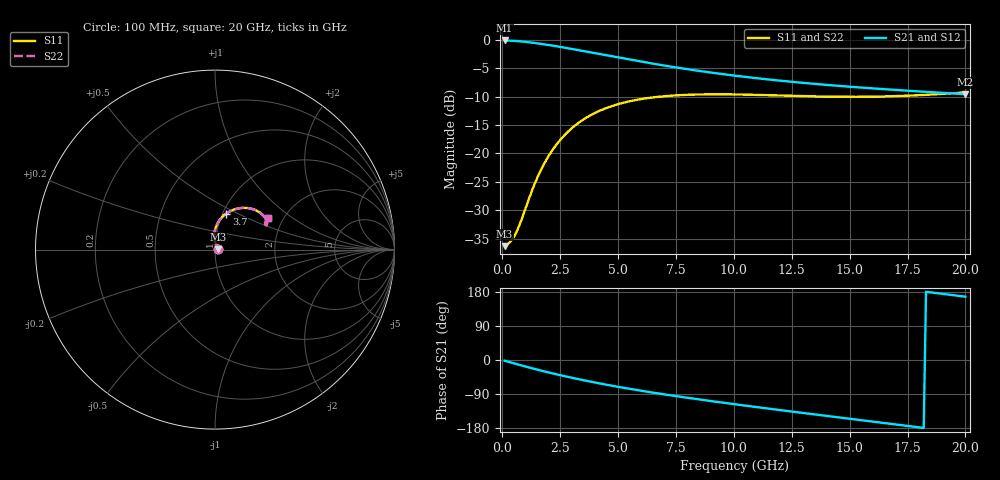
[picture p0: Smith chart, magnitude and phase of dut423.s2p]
! Touchstone file exported from HFSS 2024.1.0
!  File:  C:/UserFiles/LocalFiles/RDL_TSV_Batchsim/temp_RDL_TSV_423_1779717788.aedt
!  Generated:  10:22:15 PM May 25, 2026
!  Design:  RDL_TSV
!  Project:  temp_RDL_TSV_423_1779717788
!  Setup:  Setup1
!  Solution:  Sweep
! Variables:
!  dtsv = 9.17um
!  hbump = 3um
!  htsv = 91.65um
!  ldown = 581.8um
!  lrdl = 181.1um
!  p = 40
!  p1 = 55.9um
!  rhole = 10um
!  subl = 2469.8um
!  t = 450um
!  tdown = 4.28um
!  trdl = 3.24um
!  viad = 10um
!  wdown = 18.49um
!  wrdl = 10.47um
!  xbump = 18um
# GHz S MA R 50.000000
! Terminal data exported
! Port[1] = TM1_1_T1
! Port[2] = TM1_4_T1
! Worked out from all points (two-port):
!   200 points, 100 MHz to 20 GHz, reference 50 ohm
!   highest |S21| = -0.15 dB at 100 MHz (marker M1); lowest = -9.6 dB at 20 GHz (marker M2)
!   |S21| within 3 dB of the highest: start of sweep to 5.016 GHz
!   lowest |S11| = -36.3 dB at 100 MHz (marker M3), VSWR 1.03, Z = 51.5 + j0.278 ohm
!   |S11| at or under -10 dB: start of sweep to 6.856 GHz; 13.79 GHz to 16.33 GHz (2.547 GHz wide, 16.9 % of centre)
!   |S22| runs from -36.3 to -9.3 dB; largest |S21 - S12| = 2e-13
!   S11 on the Smith chart (normalised r, x): 100 MHz: 1.03, +0.01; 3.7 GHz: 1.04, +0.44; 20 GHz: 1.68, +0.66
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0.1  0.01534 10.1  0.9827 -1.8  0.9827 -1.8  0.01529 9.9
! Gamma 0 0 0 0
! Port Impedance 50 0 50 0
0.4  0.01732 38.6  0.9772 -7.1  0.9772 -7.1  0.01712 38.3
0.6  0.02018 56.5  0.9715 -10.5  0.9715 -10.5  0.01986 56.4
0.8  0.02522 71.6  0.9642 -13.9  0.9642 -13.9  0.02482 71.9
1.4  0.0541 91.8  0.9341 -23.7  0.9341 -23.7  0.0537 92.4
1.7  0.07367 93.0  0.9159 -28.4  0.9159 -28.4  0.07333 93.5
2  0.09487 91.6  0.8964 -32.9  0.8964 -32.9  0.09458 92.1
2.3  0.1167 89.0  0.8762 -37.2  0.8762 -37.2  0.1165 89.4
2.7  0.1456 84.6  0.8486 -42.8  0.8486 -42.8  0.1454 84.9
3.5  0.1986 74.9  0.7934 -53.3  0.7934 -53.3  0.1984 75.1
3.7  0.2104 72.5  0.7798 -55.8  0.7798 -55.8  0.2102 72.7
4.3  0.2418 65.7  0.7402 -62.9  0.7402 -62.9  0.2417 65.8
5  0.271 58.5  0.6966 -70.8  0.6966 -70.8  0.2709 58.7
5.9  0.2981 50.7  0.6456 -80.2  0.6456 -80.2  0.2979 50.7
6.8  0.3154 44.1  0.6006 -88.9  0.6006 -88.9  0.3152 44.2
8.4  0.3293 35.4  0.5345 -103.2  0.5345 -103.2  0.3291 35.5
10.1  0.3297 29.5  0.4807 -117.3  0.4807 -117.3  0.3294 29.5
11.7  0.324 26.5  0.4419 -129.9  0.4419 -129.9  0.3237 26.5
13.4  0.3174 25.5  0.4098 -142.9  0.4098 -142.9  0.317 25.4
15  0.3144 26.1  0.3857 -155.1  0.3857 -155.1  0.314 26.1
16.7  0.3175 27.7  0.3645 -167.9  0.3645 -167.9  0.3172 27.6
20  0.3437 30.4  0.3314 167.1  0.3314 167.1  0.3432 30.4
